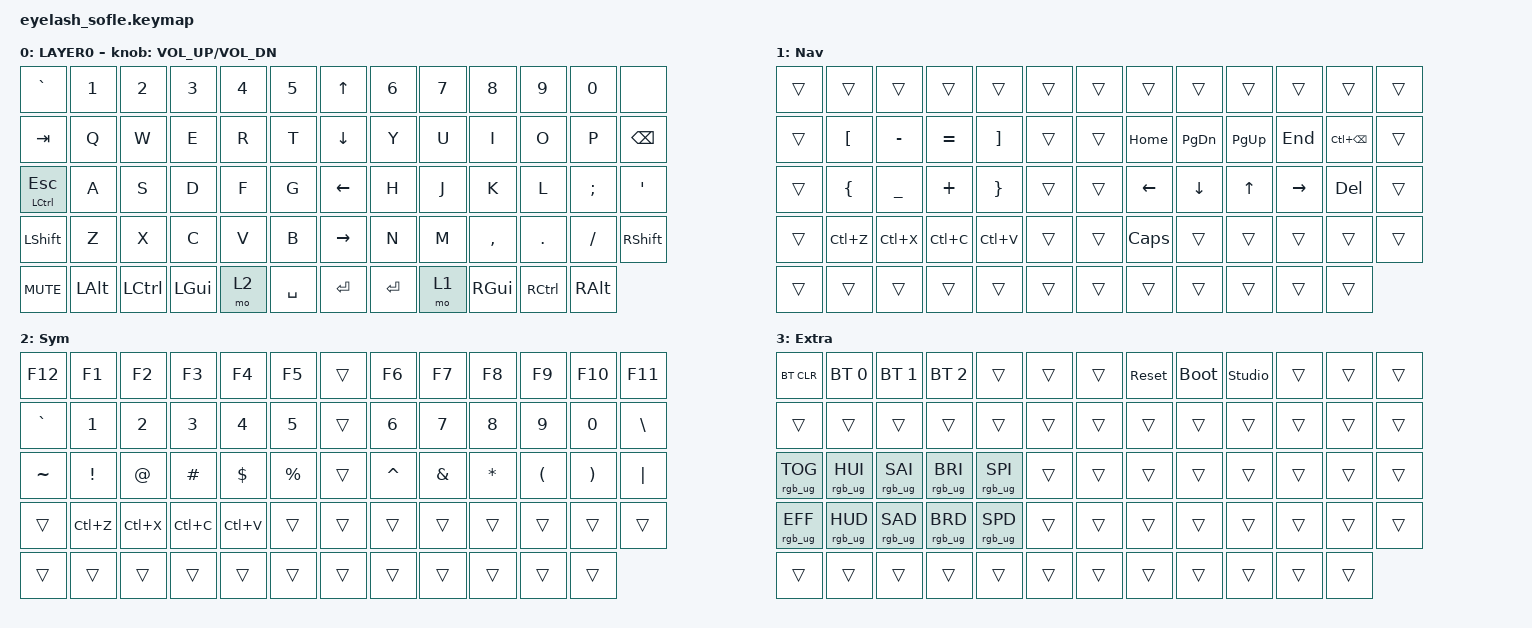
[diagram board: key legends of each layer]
#include <dt-bindings/zmk/mouse.h>
#include <input/processors.dtsi>
#include <behaviors.dtsi>
#include <dt-bindings/zmk/bt.h>
#include <dt-bindings/zmk/keys.h>
#include <dt-bindings/zmk/pointing.h>
#include <dt-bindings/zmk/rgb.h>

/*

   &mmv_input_listener {
       input-processors = <&zip_xy_scaler 2 1>;
   };

   &msc_input_listener {
       input-processors = <&zip_xy_scaler 2 1>;
   };

 */

#define ZMK_MOUSE_DEFAULT_MOVE_VAL 1200  // 600
#define ZMK_MOUSE_DEFAULT_SCRL_VAL 20    // 10

/ {
    behaviors {
        mmv {
            acceleration-exponent = <1>;      // 1
            time-to-max-speed-ms = <900>;    // 40
            delay-ms = <0>;                   // 0
        };

        msc {
            acceleration-exponent = <1>;      // 0
            time-to-max-speed-ms = <400>;      // 500
            delay-ms = <0>;                   //   10
        };
    };

    scroll_encoder: scroll_encoder {
        compatible = "zmk,behavior-sensor-rotate";
        #sensor-binding-cells = <0>;
        bindings = <&msc SCRL_DOWN>, <&msc SCRL_UP>;

        tap-ms = <30>;
    };

    keymap {
        compatible = "zmk,keymap";

        base {
            bindings = <
&kp GRAVE         &kp N1        &kp N2     &kp N3    &kp N4  &kp N5       &kp UP_ARROW     &kp N6     &kp N7  &kp N8     &kp N9     &kp N0         &none
&kp TAB           &kp Q         &kp W      &kp E     &kp R   &kp T        &kp DOWN_ARROW   &kp Y      &kp U   &kp I      &kp O      &kp P          &kp BACKSPACE
&mt LCTRL ESCAPE  &kp A         &kp S      &kp D     &kp F   &kp G        &kp LEFT_ARROW   &kp H      &kp J   &kp K      &kp L      &kp SEMI       &kp APOS
&kp LSHFT         &kp Z         &kp X      &kp C     &kp V   &kp B        &kp RIGHT_ARROW  &kp N      &kp M   &kp COMMA  &kp DOT    &kp FSLH       &kp RSHIFT
&kp C_MUTE        &kp LEFT_ALT  &kp LCTRL  &kp LGUI  &mo 2   &kp SPACE    &kp ENTER        &kp ENTER  &mo 1   &kp RGUI   &kp RCTRL  &kp RIGHT_ALT
            >;

            sensor-bindings = <&inc_dec_kp C_VOLUME_UP C_VOL_DN>;
            display-name = "LAYER0";
            label = "Base";
        };

        nav {
            bindings = <
&trans  &trans            &trans          &trans     &trans             &trans    &trans  &trans        &trans         &trans       &trans     &trans             &trans
&trans  &kp LEFT_BRACKET  &kp MINUS       &kp EQUAL  &kp RIGHT_BRACKET  &trans    &trans  &kp HOME      &kp PAGE_DOWN  &kp PAGE_UP  &kp END    &kp LC(BACKSPACE)  &trans
&trans  &kp LEFT_BRACE    &kp UNDERSCORE  &kp PLUS   &kp RIGHT_BRACE    &trans    &trans  &kp LEFT      &kp DOWN       &kp UP       &kp RIGHT  &kp DELETE         &trans
&trans  &kp LC(Z)         &kp LC(X)       &kp LC(C)  &kp LC(V)          &trans    &trans  &kp CAPSLOCK  &trans         &trans       &trans     &trans             &trans
&trans  &trans            &trans          &trans     &trans             &trans    &trans  &trans        &trans         &trans       &trans     &trans
            >;

            label = "Nav";
        };

        symbol {
            bindings = <
&kp F12    &kp F1           &kp F2       &kp F3     &kp F4      &kp F5         &trans  &kp F6     &kp F7         &kp F8        &kp F9                &kp F10                &kp F11
&kp GRAVE  &kp N1           &kp N2       &kp N3     &kp N4      &kp N5         &trans  &kp N6     &kp N7         &kp N8        &kp N9                &kp N0                 &kp BACKSLASH
&kp TILDE  &kp EXCLAMATION  &kp AT_SIGN  &kp HASH   &kp DOLLAR  &kp PERCENT    &trans  &kp CARET  &kp AMPERSAND  &kp ASTERISK  &kp LEFT_PARENTHESIS  &kp RIGHT_PARENTHESIS  &kp PIPE
&trans     &kp LC(Z)        &kp LC(X)    &kp LC(C)  &kp LC(V)   &trans         &trans  &trans     &trans         &trans        &trans                &trans                 &trans
&trans     &trans           &trans       &trans     &trans      &trans         &trans  &trans     &trans         &trans        &trans                &trans
            >;

            label = "Sym";
        };

        extra {
            bindings = <
&bt BT_CLR       &bt BT_SEL 0     &bt BT_SEL 1     &bt BT_SEL 2     &trans           &trans    &trans  &sys_reset  &bootloader  &studio_unlock  &trans  &trans  &trans
&trans           &trans           &trans           &trans           &trans           &trans    &trans  &trans      &trans       &trans          &trans  &trans  &trans
&rgb_ug RGB_TOG  &rgb_ug RGB_HUI  &rgb_ug RGB_SAI  &rgb_ug RGB_BRI  &rgb_ug RGB_SPI  &trans    &trans  &trans      &trans       &trans          &trans  &trans  &trans
&rgb_ug RGB_EFF  &rgb_ug RGB_HUD  &rgb_ug RGB_SAD  &rgb_ug RGB_BRD  &rgb_ug RGB_SPD  &trans    &trans  &trans      &trans       &trans          &trans  &trans  &trans
&trans           &trans           &trans           &trans           &trans           &trans    &trans  &trans      &trans       &trans          &trans  &trans
            >;

            label = "Extra";
        };
    };

    conditional_layers {
        compatible = "zmk,conditional-layers";

        extra_layer {
            if-layers = <1 2>;
            then-layer = <3>;
        };
    };
};
